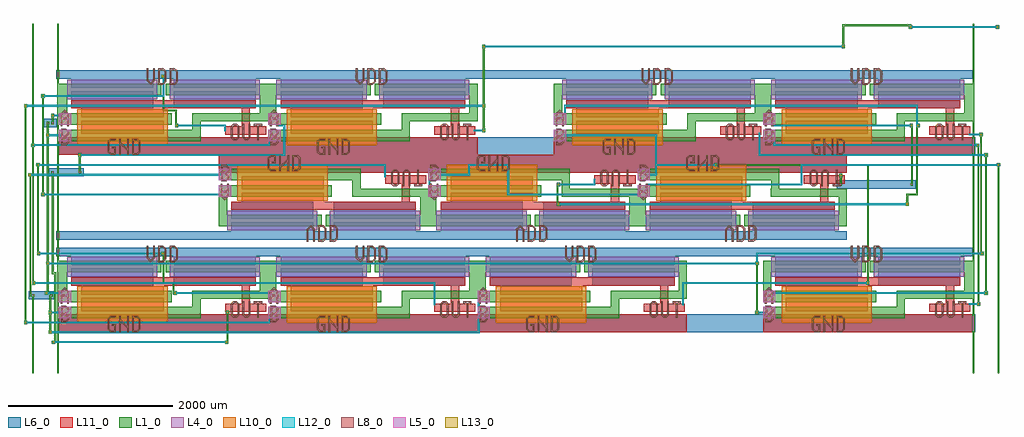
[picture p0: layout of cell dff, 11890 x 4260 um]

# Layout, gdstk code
import gdstk
lib = gdstk.Library(unit=1e-6, precision=1e-09)
def R(c, l, rs):  # rectangles x0, y0, x1, y1
    for r in rs: c.add(gdstk.rectangle(r[:2], r[2:], *l))
def A(c, l, x, y, w, h, nx, ny, dx, dy):  # array of equal rectangles
    R(c, l, [(x+i*dx, y+j*dy, x+i*dx+w, y+j*dy+h) for i in range(nx) for j in range(ny)])
def P(c, l, *ps):  # polygons
    for p in ps: c.add(gdstk.Polygon(p, *l))
L1_0 = (1, 0)
L4_0 = (4, 0)
L5_0 = (5, 0)
L6_0 = (6, 0)
L8_0 = (8, 0)
L10_0 = (10, 0)
L11_0 = (11, 0)
L12_0 = (12, 0)
L13_0 = (13, 0)

text_a = lib.new_cell('text_A')
R(text_a, L8_0, [(0,0,20,150), (80,0,100,150), (0,85,100,110)])
P(text_a, L8_0, [(36.413,186.945),(50.555,201.087),(101.088,150.554),(86.946,136.412)],
  [(13.055,136.412),(-1.087,150.554),(49.446,201.087),(63.588,186.945)])

text_b = lib.new_cell('text_B')
R(text_b, L8_0, [(-0.499,0,64.501,20), (0,0,20,200), (80,40,100,60), (0,90,70,110), (80,140,100,160), (0.001,179.5,65.001,199.5)])
P(text_b, L8_0, [(50.251,185.837),(85.856,150.232),(99.998,164.374),(64.393,199.999)],
  [(100,64.394),(64.395,99.999),(50.253,85.857),(85.858,50.252)],
  [(85.858,148.999),(50.753,113.894),(64.895,99.752),(100,134.857)],
  [(85.858,48.999),(50.753,13.894),(64.895,-0.248),(100,34.857)])

text_n = lib.new_cell('text_N')
R(text_n, L8_0, [(0,0,20,200), (100,0,120,200)])
P(text_n, L8_0, [(3.431,142.426),(17.573,156.568),(116.568,57.573),(102.426,43.431)])

text_d = lib.new_cell('text_D')
R(text_d, L8_0, [(0,0,65,20), (0,0,20,200), (80,35,100,165), (0,180,65,200)])
P(text_d, L8_0, [(85.857,150.501),(50.252,186.106),(64.394,200.248),(99.999,164.643)],
  [(100.499,35.106),(64.894,-0.499),(50.752,13.643),(86.357,49.248)])

text_g = lib.new_cell('text_G')
R(text_g, L8_0, [(80,0,100,90), (34.999,0.5,99.999,20.5), (-0.001,35,19.999,165), (50,80,100,100), (35.499,180,100.499,200)])
P(text_g, L8_0, [(0,35.606),(35.605,0.001),(49.747,14.143),(14.142,49.748)],
  [(14.142,151.001),(49.247,186.106),(35.105,200.248),(0,165.143)])

text_gnd = lib.new_cell('text_GND')
text_gnd.add(gdstk.Reference(text_n, (140,0)))
text_gnd.add(gdstk.Reference(text_d, (300,0)))
text_gnd.add(gdstk.Reference(text_g, (0,0)))

text_v = lib.new_cell('text_V')
R(text_v, L8_0, [(0,51.087,20,201.087), (80,51.087,100,201.087)])
P(text_v, L8_0, [(13.055,64.675),(-1.087,50.533),(49.446,0),(63.588,14.142)],
  [(36.413,14.142),(50.555,0),(101.088,50.533),(86.946,64.675)])

text_vdd = lib.new_cell('text_VDD')
text_vdd.add(gdstk.Reference(text_d, (140,0)))
text_vdd.add(gdstk.Reference(text_d, (280,0)))
text_vdd.add(gdstk.Reference(text_v, (0,0)))

text_t = lib.new_cell('text_T')
R(text_t, L8_0, [(40,0,60,190), (0,170,15,190), (85,170,100,190), (0,180,100,200)])

text_u = lib.new_cell('text_U')
R(text_u, L8_0, [(30,0,65,20), (0,30,20,200), (75,30,95,200)])
P(text_u, L8_0, [(14.894,44.248),(45.499,13.643),(31.357,-0.499),(0.752,30.106)],
  [(95.499,30.106),(64.894,-0.499),(50.752,13.643),(81.357,44.248)])

text_o = lib.new_cell('text_O')
R(text_o, L8_0, [(30.996,0.5,70.497,20.5), (79.997,30.002,99.997,75.002), (-0.003,30.5,19.997,125), (80.499,65,100.499,169.002), (-0.001,121,19.999,168.5), (30.499,180.002,70,200.002)])
P(text_o, L8_0, [(13.393,155.254),(43.998,185.859),(29.856,200.001),(-0.749,169.396)],
  [(-0.002,30.606),(30.603,0.001),(44.745,14.143),(14.14,44.748)],
  [(86.103,44.748),(55.498,14.143),(69.64,0.001),(100.245,30.606)],
  [(100.498,168.896),(69.893,199.501),(55.751,185.359),(86.356,154.754)])

text_out = lib.new_cell('text_OUT')
text_out.add(gdstk.Reference(text_t, (280,0)))
text_out.add(gdstk.Reference(text_u, (140,0)))
text_out.add(gdstk.Reference(text_o, (0,0)))

nand2x1 = lib.new_cell('NAND2X1')
R(nand2x1, L1_0, [(0,169,1725,309), (1626,169,1726,409), (0,369,1375,509), (0,409,100,869), (1625,409,2550,509), (2450,409,2550,869), (0,729,1250,869), (1300,729,2550,869)])
R(nand2x1, L4_0, [(100,679,1200,919), (1350,679,2450,919)])
R(nand2x1, L5_0, [(0,169,150,309), (0,369,150,509)])
R(nand2x1, L6_0, [(150,569,1150,779), (1400,569,2400,779), (150,819,1150,999), (1400,819,2400,999), (150,929,2400,1030)])
R(nand2x1, L10_0, [(225,119,1325,559)])
R(nand2x1, L11_0, [(0,0,2550,219), (2025,249,2525,349), (2225,249,2325,669), (275,259,1275,419), (275,459,1275,669), (150,569,2400,669)])
nand2x1.add(gdstk.Reference(text_a, (21,349)))
nand2x1.add(gdstk.Reference(text_b, (27,121.5)))
nand2x1.add(gdstk.Reference(text_gnd, (593.5,0.5)))
nand2x1.add(gdstk.Reference(text_vdd, (1069,854.5)))
nand2x1.add(gdstk.Reference(text_out, (2096.5,179)))

c___via23_20000_20000_1_3 = lib.new_cell('$$VIA23_20000_20000_1_3')
R(c___via23_20000_20000_1_3, L1_0, [(-15,-35,15,35)])
A(c___via23_20000_20000_1_3, L5_0, -5, -25, 10, 10, 1, 3, 0, 20)
R(c___via23_20000_20000_1_3, L6_0, [(-25,-45,25,45)])

c___via23_20000_20000_1_9 = lib.new_cell('$$VIA23_20000_20000_1_9')
R(c___via23_20000_20000_1_9, L1_0, [(-15,-95,15,95)])
A(c___via23_20000_20000_1_9, L5_0, -5, -85, 10, 10, 1, 9, 0, 20)
R(c___via23_20000_20000_1_9, L6_0, [(-25,-105,25,105)])

c___via12 = lib.new_cell('$$VIA12')
R(c___via12, L1_0, [(-20,-20,20,20)])
R(c___via12, L12_0, [(-15,-15,15,15)])
R(c___via12, L13_0, [(-10,-10,10,10)])

c___via23 = lib.new_cell('$$VIA23')
R(c___via23, L1_0, [(-15,-15,15,15)])
R(c___via23, L5_0, [(-5,-5,5,5)])
R(c___via23, L6_0, [(-25,-25,25,25)])

dff = lib.new_cell('dff')
dff.add(gdstk.FlexPath([(490,3760),(490,4260)], 20, ends="flush", simple_path=True, layer=1, datatype=0))  # L1_0
dff.add(gdstk.FlexPath([(490,0),(490,3760)], 20, ends="flush", simple_path=True, layer=1, datatype=0))  # L1_0
dff.add(gdstk.FlexPath([(11640,0),(11640,4260)], 20, ends="flush", simple_path=True, layer=1, datatype=0))  # L1_0
dff.add(gdstk.FlexPath([(6047.5,3588.995),(6047.5,3690)], 11165, ends="flush", simple_path=True, layer=6, datatype=0))  # L6_0
dff.add(gdstk.FlexPath([(6047.5,1428.995),(6047.5,1530)], 11165, ends="flush", simple_path=True, layer=6, datatype=0))  # L6_0
dff.add(gdstk.FlexPath([(5282.5,1630),(5282.5,1731.005)], 9635, ends="flush", simple_path=True, layer=6, datatype=0))  # L6_0
dff.add(gdstk.FlexPath([(6082.5,500),(6082.5,718.995)], 11165, ends="flush", simple_path=True, layer=6, datatype=0))  # L6_0
dff.add(gdstk.FlexPath([(6082.5,2660),(6082.5,2878.995)], 11165, ends="flush", simple_path=True, layer=6, datatype=0))  # L6_0
dff.add(gdstk.FlexPath([(10895,2300),(10895,3020)], 20, ends="extended", simple_path=True, layer=1, datatype=0))  # L1_0
dff.add(gdstk.FlexPath([(10025,2300),(10025,2411.005)], 20, ends="extended", simple_path=True, layer=1, datatype=0))  # L1_0
dff.add(gdstk.FlexPath([(11795,980),(11795,2660)], 20, ends="extended", simple_path=True, layer=1, datatype=0))  # L1_0
dff.add(gdstk.FlexPath([(9035,2660),(9035,2919)], 20, ends="extended", simple_path=True, layer=12, datatype=0))  # L12_0
dff.add(gdstk.FlexPath([(11705,844),(11705,2780)], 20, ends="extended", simple_path=True, layer=1, datatype=0))  # L1_0
dff.add(gdstk.FlexPath([(9215,2780),(9215,2839)], 20, ends="extended", simple_path=True, layer=12, datatype=0))  # L12_0
dff.add(gdstk.FlexPath([(7025,2300),(7025,2361.005)], 20, ends="extended", simple_path=True, layer=12, datatype=0))  # L12_0
dff.add(gdstk.FlexPath([(6575,2060),(6575,2300)], 20, ends="extended", simple_path=True, layer=1, datatype=0))  # L1_0
dff.add(gdstk.FlexPath([(10835,2060),(10835,2180)], 20, ends="extended", simple_path=True, layer=1, datatype=0))  # L1_0
dff.add(gdstk.FlexPath([(10955,2180),(10955,3020)], 20, ends="extended", simple_path=True, layer=1, datatype=0))  # L1_0
dff.add(gdstk.FlexPath([(10955,3020),(10955,3260)], 20, ends="extended", simple_path=True, layer=12, datatype=0))  # L12_0
dff.add(gdstk.FlexPath([(6665,3158.995),(6665,3260)], 20, ends="extended", simple_path=True, layer=12, datatype=0))  # L12_0
dff.add(gdstk.FlexPath([(8105,838.995),(8105,1100)], 20, ends="extended", simple_path=True, layer=12, datatype=0))  # L12_0
dff.add(gdstk.FlexPath([(10355,1100),(10355,2540)], 20, ends="extended", simple_path=True, layer=1, datatype=0))  # L1_0
dff.add(gdstk.FlexPath([(7775,2420),(7775,2540)], 20, ends="extended", simple_path=True, layer=12, datatype=0))  # L12_0
dff.add(gdstk.FlexPath([(7775,2540),(7775,2900)], 20, ends="extended", simple_path=True, layer=12, datatype=0))  # L12_0
dff.add(gdstk.FlexPath([(2555,380),(2555,740)], 20, ends="extended", simple_path=True, layer=1, datatype=0))  # L1_0
dff.add(gdstk.FlexPath([(455,380),(455,1220)], 20, ends="extended", simple_path=True, layer=1, datatype=0))  # L1_0
dff.add(gdstk.FlexPath([(425,1220),(425,2450)], 20, ends="extended", simple_path=True, layer=1, datatype=0))  # L1_0
dff.add(gdstk.FlexPath([(755,2450),(755,2660)], 20, ends="extended", simple_path=True, layer=1, datatype=0))  # L1_0
dff.add(gdstk.FlexPath([(3245,2660),(3245,3020)], 20, ends="extended", simple_path=True, layer=12, datatype=0))  # L12_0
dff.add(gdstk.FlexPath([(2525,2959),(2525,3020)], 20, ends="extended", simple_path=True, layer=12, datatype=0))  # L12_0
dff.add(gdstk.FlexPath([(1925,3020),(1925,3200)], 20, ends="extended", simple_path=True, layer=1, datatype=0))  # L1_0
dff.add(gdstk.FlexPath([(1775,3200),(1775,3620)], 20, ends="extended", simple_path=True, layer=1, datatype=0))  # L1_0
dff.add(gdstk.FlexPath([(1775,3380),(1775,3620)], 20, ends="extended", simple_path=True, layer=12, datatype=0))  # L12_0
dff.add(gdstk.FlexPath([(305,2180),(305,3380)], 20, ends="extended", simple_path=True, layer=1, datatype=0))  # L1_0
dff.add(gdstk.FlexPath([(425,3050),(425,3140)], 20, ends="extended", simple_path=True, layer=1, datatype=0))  # L1_0
dff.add(gdstk.FlexPath([(365,2900),(365,3050)], 20, ends="extended", simple_path=True, layer=1, datatype=0))  # L1_0
dff.add(gdstk.FlexPath([(365,980),(365,1340)], 20, ends="extended", simple_path=True, layer=1, datatype=0))  # L1_0
dff.add(gdstk.FlexPath([(9005,740),(9005,1340)], 20, ends="extended", simple_path=True, layer=1, datatype=0))  # L1_0
dff.add(gdstk.FlexPath([(11735,1460),(11735,2909)], 20, ends="extended", simple_path=True, layer=1, datatype=0))  # L1_0
dff.add(gdstk.FlexPath([(9005,1340),(9005,1460)], 20, ends="extended", simple_path=True, layer=12, datatype=0))  # L12_0
dff.add(gdstk.FlexPath([(365,1340),(365,2900)], 20, ends="extended", simple_path=True, layer=1, datatype=0))  # L1_0
dff.add(gdstk.FlexPath([(5975,2180),(5975,2540)], 20, ends="extended", simple_path=True, layer=12, datatype=0))  # L12_0
dff.add(gdstk.FlexPath([(5495,2420),(5495,2540)], 20, ends="extended", simple_path=True, layer=12, datatype=0))  # L12_0
dff.add(gdstk.FlexPath([(11945,10),(11945,2540)], 20, ends="extended", simple_path=True, layer=1, datatype=0))  # L1_0
dff.add(gdstk.FlexPath([(9545,2300),(9545,2540)], 20, ends="extended", simple_path=True, layer=12, datatype=0))  # L12_0
dff.add(gdstk.FlexPath([(5015,2300),(5015,2351)], 20, ends="extended", simple_path=True, layer=12, datatype=0))  # L12_0
dff.add(gdstk.FlexPath([(185,2780),(185,4250)], 20, ends="extended", simple_path=True, layer=1, datatype=0))  # L1_0
dff.add(gdstk.FlexPath([(3065,2780),(3065,2839)], 20, ends="extended", simple_path=True, layer=12, datatype=0))  # L12_0
dff.add(gdstk.FlexPath([(185,1100),(185,2780)], 20, ends="extended", simple_path=True, layer=1, datatype=0))  # L1_0
dff.add(gdstk.FlexPath([(5075,838.995),(5075,1100)], 20, ends="extended", simple_path=True, layer=12, datatype=0))  # L12_0
dff.add(gdstk.FlexPath([(3065,620),(3065,679)], 20, ends="extended", simple_path=True, layer=12, datatype=0))  # L12_0
dff.add(gdstk.FlexPath([(95,620),(95,3260)], 20, ends="extended", simple_path=True, layer=1, datatype=0))  # L1_0
dff.add(gdstk.FlexPath([(5675,2959),(5675,3260)], 20, ends="extended", simple_path=True, layer=1, datatype=0))  # L1_0
dff.add(gdstk.FlexPath([(10055,3980),(10055,4240)], 20, ends="extended", simple_path=True, layer=1, datatype=0))  # L1_0
dff.add(gdstk.FlexPath([(5675,3260),(5675,3980)], 20, ends="extended", simple_path=True, layer=1, datatype=0))  # L1_0
dff.add(gdstk.FlexPath([(4475,2401),(4475,2540)], 20, ends="extended", simple_path=True, layer=12, datatype=0))  # L12_0
dff.add(gdstk.FlexPath([(245,1460),(245,2540)], 20, ends="extended", simple_path=True, layer=1, datatype=0))  # L1_0
dff.add(gdstk.FlexPath([(1775,1100),(1775,1460)], 20, ends="extended", simple_path=True, layer=1, datatype=0))  # L1_0
dff.add(gdstk.FlexPath([(1895,980),(1895,1100)], 20, ends="extended", simple_path=True, layer=1, datatype=0))  # L1_0
dff.add(gdstk.FlexPath([(155,952.5),(155,2420)], 20, ends="extended", simple_path=True, layer=1, datatype=0))  # L1_0
dff.add(gdstk.FlexPath([(185,10),(185,950)], 20, ends="extended", simple_path=True, layer=1, datatype=0))  # L1_0
dff.add(gdstk.FlexPath([(395,500),(395,740)], 20, ends="extended", simple_path=True, layer=1, datatype=0))  # L1_0
dff.add(gdstk.FlexPath([(5615,500),(5615,739)], 20, ends="extended", simple_path=True, layer=12, datatype=0))  # L12_0
dff.add(gdstk.FlexPath([(395,740),(395,950)], 20, ends="extended", simple_path=True, layer=1, datatype=0))  # L1_0
dff.add(gdstk.FlexPath([(5615,809),(5615,860)], 20, ends="extended", simple_path=True, layer=12, datatype=0))  # L12_0
dff.add(gdstk.FlexPath([(475,3639.495),(505,3639.495)], 101, ends="flush", simple_path=True, layer=1, datatype=0))  # L1_0
dff.add(gdstk.FlexPath([(475,3639.5),(505,3639.5)], 101, ends="flush", simple_path=True, layer=1, datatype=0))  # L1_0
dff.add(gdstk.FlexPath([(475,1479.495),(505,1479.495)], 101, ends="flush", simple_path=True, layer=1, datatype=0))  # L1_0
dff.add(gdstk.FlexPath([(475,1479.5),(505,1479.5)], 101, ends="flush", simple_path=True, layer=1, datatype=0))  # L1_0
dff.add(gdstk.FlexPath([(475,1680.5),(505,1680.5)], 101, ends="flush", simple_path=True, layer=1, datatype=0))  # L1_0
dff.add(gdstk.FlexPath([(475,1680.505),(505,1680.505)], 101, ends="flush", simple_path=True, layer=1, datatype=0))  # L1_0
dff.add(gdstk.FlexPath([(2450,2550.5),(10100,2550.5)], 218.99, ends="flush", simple_path=True, layer=6, datatype=0))  # L6_0
dff.add(gdstk.FlexPath([(2450,2550.505),(10100,2550.505)], 218.99, ends="flush", simple_path=True, layer=6, datatype=0))  # L6_0
dff.add(gdstk.FlexPath([(11625,609.495),(11655,609.495)], 218.99, ends="flush", simple_path=True, layer=1, datatype=0))  # L1_0
dff.add(gdstk.FlexPath([(11625,609.5),(11655,609.5)], 218.99, ends="flush", simple_path=True, layer=1, datatype=0))  # L1_0
dff.add(gdstk.FlexPath([(11625,2769.495),(11655,2769.495)], 218.99, ends="flush", simple_path=True, layer=1, datatype=0))  # L1_0
dff.add(gdstk.FlexPath([(11625,2769.5),(11655,2769.5)], 218.99, ends="flush", simple_path=True, layer=1, datatype=0))  # L1_0
dff.add(gdstk.FlexPath([(9215,3020),(10885,3020)], 20, ends="extended", simple_path=True, layer=12, datatype=0))  # L12_0
dff.add(gdstk.FlexPath([(10025,2300),(10890,2300)], 100, ends="extended", simple_path=True, layer=6, datatype=0))  # L6_0
dff.add(gdstk.FlexPath([(9220,980),(11795,980)], 20, ends="extended", simple_path=True, layer=12, datatype=0))  # L12_0
dff.add(gdstk.FlexPath([(9035,2660),(11795,2660)], 20, ends="extended", simple_path=True, layer=12, datatype=0))  # L12_0
dff.add(gdstk.FlexPath([(11595,844),(11705,844)], 20, ends="extended", simple_path=True, layer=12, datatype=0))  # L12_0
dff.add(gdstk.FlexPath([(9215,2780),(11695,2780)], 20, ends="extended", simple_path=True, layer=12, datatype=0))  # L12_0
dff.add(gdstk.FlexPath([(6585,2300),(7025,2300)], 20, ends="extended", simple_path=True, layer=12, datatype=0))  # L12_0
dff.add(gdstk.FlexPath([(6585,2060),(10835,2060)], 20, ends="extended", simple_path=True, layer=12, datatype=0))  # L12_0
dff.add(gdstk.FlexPath([(10835,2180),(10955,2180)], 20, ends="extended", simple_path=True, layer=1, datatype=0))  # L1_0
dff.add(gdstk.FlexPath([(6665,3260),(10955,3260)], 20, ends="extended", simple_path=True, layer=12, datatype=0))  # L12_0
dff.add(gdstk.FlexPath([(8105,1100),(10355,1100)], 20, ends="extended", simple_path=True, layer=12, datatype=0))  # L12_0
dff.add(gdstk.FlexPath([(8505,2540),(10355,2540)], 20, ends="extended", simple_path=True, layer=1, datatype=0))  # L1_0
dff.add(gdstk.FlexPath([(7775,2540),(8505,2540)], 20, ends="extended", simple_path=True, layer=12, datatype=0))  # L12_0
dff.add(gdstk.FlexPath([(7685,2420),(7775,2420)], 20, ends="extended", simple_path=True, layer=12, datatype=0))  # L12_0
dff.add(gdstk.FlexPath([(6665,2900),(7775,2900)], 20, ends="extended", simple_path=True, layer=12, datatype=0))  # L12_0
dff.add(gdstk.FlexPath([(435,380),(2545,380)], 20, ends="extended", simple_path=True, layer=12, datatype=0))  # L12_0
dff.add(gdstk.FlexPath([(425,1220),(455,1220)], 20, ends="extended", simple_path=True, layer=1, datatype=0))  # L1_0
dff.add(gdstk.FlexPath([(425,2450),(755,2450)], 100, ends="extended", simple_path=True, layer=6, datatype=0))  # L6_0
dff.add(gdstk.FlexPath([(755,2660),(3245,2660)], 20, ends="extended", simple_path=True, layer=12, datatype=0))  # L12_0
dff.add(gdstk.FlexPath([(3190,3020),(3245,3020)], 20, ends="extended", simple_path=True, layer=12, datatype=0))  # L12_0
dff.add(gdstk.FlexPath([(1935,3020),(2525,3020)], 20, ends="extended", simple_path=True, layer=12, datatype=0))  # L12_0
dff.add(gdstk.FlexPath([(1775,3200),(1925,3200)], 20, ends="extended", simple_path=True, layer=1, datatype=0))  # L1_0
dff.add(gdstk.FlexPath([(305,3380),(1775,3380)], 20, ends="extended", simple_path=True, layer=12, datatype=0))  # L12_0
dff.add(gdstk.FlexPath([(305,2180),(2460,2180)], 20, ends="extended", simple_path=True, layer=12, datatype=0))  # L12_0
dff.add(gdstk.FlexPath([(425,3140),(510,3140)], 20, ends="extended", simple_path=True, layer=12, datatype=0))  # L12_0
dff.add(gdstk.FlexPath([(365,3050),(425,3050)], 100, ends="extended", simple_path=True, layer=6, datatype=0))  # L6_0
dff.add(gdstk.FlexPath([(365,2900),(510,2900)], 20, ends="extended", simple_path=True, layer=12, datatype=0))  # L12_0
dff.add(gdstk.FlexPath([(350,980),(510,980)], 20, ends="extended", simple_path=True, layer=12, datatype=0))  # L12_0
dff.add(gdstk.FlexPath([(9005,740),(9090,740)], 20, ends="extended", simple_path=True, layer=12, datatype=0))  # L12_0
dff.add(gdstk.FlexPath([(11595,2909),(11735,2909)], 20, ends="extended", simple_path=True, layer=12, datatype=0))  # L12_0
dff.add(gdstk.FlexPath([(9005,1460),(11745,1460)], 20, ends="extended", simple_path=True, layer=12, datatype=0))  # L12_0
dff.add(gdstk.FlexPath([(365,1340),(9005,1340)], 20, ends="extended", simple_path=True, layer=12, datatype=0))  # L12_0
dff.add(gdstk.FlexPath([(5975,2180),(7565,2180)], 20, ends="extended", simple_path=True, layer=12, datatype=0))  # L12_0
dff.add(gdstk.FlexPath([(5495,2540),(5975,2540)], 20, ends="extended", simple_path=True, layer=12, datatype=0))  # L12_0
dff.add(gdstk.FlexPath([(5135,2420),(5495,2420)], 20, ends="extended", simple_path=True, layer=12, datatype=0))  # L12_0
dff.add(gdstk.FlexPath([(9545,2540),(11945,2540)], 20, ends="extended", simple_path=True, layer=12, datatype=0))  # L12_0
dff.add(gdstk.FlexPath([(7690,2300),(9545,2300)], 20, ends="extended", simple_path=True, layer=12, datatype=0))  # L12_0
dff.add(gdstk.FlexPath([(185,2780),(3065,2780)], 20, ends="extended", simple_path=True, layer=12, datatype=0))  # L12_0
dff.add(gdstk.FlexPath([(195,1100),(5075,1100)], 20, ends="extended", simple_path=True, layer=12, datatype=0))  # L12_0
dff.add(gdstk.FlexPath([(95,620),(3065,620)], 20, ends="extended", simple_path=True, layer=12, datatype=0))  # L12_0
dff.add(gdstk.FlexPath([(95,3260),(5675,3260)], 20, ends="extended", simple_path=True, layer=12, datatype=0))  # L12_0
dff.add(gdstk.FlexPath([(5565,2959),(5675,2959)], 20, ends="extended", simple_path=True, layer=12, datatype=0))  # L12_0
dff.add(gdstk.FlexPath([(10875,4220),(11935,4220)], 20, ends="extended", simple_path=True, layer=12, datatype=0))  # L12_0
dff.add(gdstk.FlexPath([(10055,4240),(10875,4240)], 20, ends="extended", simple_path=True, layer=1, datatype=0))  # L1_0
dff.add(gdstk.FlexPath([(5675,3980),(10055,3980)], 20, ends="extended", simple_path=True, layer=12, datatype=0))  # L12_0
dff.add(gdstk.FlexPath([(245,2540),(4475,2540)], 20, ends="extended", simple_path=True, layer=12, datatype=0))  # L12_0
dff.add(gdstk.FlexPath([(255,1460),(1765,1460)], 20, ends="extended", simple_path=True, layer=12, datatype=0))  # L12_0
dff.add(gdstk.FlexPath([(1775,1100),(1895,1100)], 20, ends="extended", simple_path=True, layer=1, datatype=0))  # L1_0
dff.add(gdstk.FlexPath([(1915,980),(3060,980)], 20, ends="extended", simple_path=True, layer=12, datatype=0))  # L12_0
dff.add(gdstk.FlexPath([(157.5,952.5),(185,952.5)], 25, ends="extended", simple_path=True, layer=1, datatype=0))  # L1_0
dff.add(gdstk.FlexPath([(145,2420),(2460,2420)], 20, ends="extended", simple_path=True, layer=12, datatype=0))  # L12_0
dff.add(gdstk.FlexPath([(395,740),(510,740)], 20, ends="extended", simple_path=True, layer=12, datatype=0))  # L12_0
dff.add(gdstk.FlexPath([(395,500),(5615,500)], 20, ends="extended", simple_path=True, layer=12, datatype=0))  # L12_0
dff.add(gdstk.FlexPath([(185,950),(395,950)], 100, ends="extended", simple_path=True, layer=6, datatype=0))  # L6_0
dff.add(gdstk.Reference(nand2x1, (3050,500)))
dff.add(gdstk.Reference(nand2x1, (3050,2660)))
dff.add(gdstk.Reference(nand2x1, (2450,2660), x_reflection=True))
dff.add(gdstk.Reference(nand2x1, (500,2660)))
dff.add(gdstk.Reference(nand2x1, (500,500)))
dff.add(gdstk.Reference(nand2x1, (9080,500)))
dff.add(gdstk.Reference(nand2x1, (9080,2660)))
dff.add(gdstk.Reference(nand2x1, (6530,2660)))
dff.add(gdstk.Reference(nand2x1, (5000,2660), x_reflection=True))
dff.add(gdstk.Reference(nand2x1, (7550,2660), x_reflection=True))
dff.add(gdstk.Reference(nand2x1, (5600,500)))
dff.add(gdstk.Reference(c___via23_20000_20000_1_3, (490,3639.495)))
dff.add(gdstk.Reference(c___via23_20000_20000_1_3, (490,1479.495)))
dff.add(gdstk.Reference(c___via23_20000_20000_1_3, (490,1680.5)))
dff.add(gdstk.Reference(c___via23_20000_20000_1_9, (11640,609.495)))
dff.add(gdstk.Reference(c___via23_20000_20000_1_9, (11640,2769.495)))
dff.add(gdstk.Reference(c___via12, (10885,3020)))
dff.add(gdstk.Reference(c___via23, (10890,2300)))
dff.add(gdstk.Reference(c___via23, (10025,2300)))
dff.add(gdstk.Reference(c___via12, (10025,2411.005)))
dff.add(gdstk.Reference(c___via12, (11795,980)))
dff.add(gdstk.Reference(c___via12, (11795,2660)))
dff.add(gdstk.Reference(c___via12, (11705,844)))
dff.add(gdstk.Reference(c___via12, (11695,2780)))
dff.add(gdstk.Reference(c___via12, (6585,2300)))
dff.add(gdstk.Reference(c___via12, (6585,2060)))
dff.add(gdstk.Reference(c___via12, (10835,2060)))
dff.add(gdstk.Reference(c___via12, (10965,3020)))
dff.add(gdstk.Reference(c___via12, (10355,1100)))
dff.add(gdstk.Reference(c___via12, (8505,2540)))
dff.add(gdstk.Reference(c___via12, (2555,740)))
dff.add(gdstk.Reference(c___via12, (2545,380)))
dff.add(gdstk.Reference(c___via12, (435,380)))
dff.add(gdstk.Reference(c___via23, (425,2450)))
dff.add(gdstk.Reference(c___via23, (755,2450)))
dff.add(gdstk.Reference(c___via12, (755,2660)))
dff.add(gdstk.Reference(c___via12, (1935,3020)))
dff.add(gdstk.Reference(c___via12, (1765,3620)))
dff.add(gdstk.Reference(c___via12, (305,3380)))
dff.add(gdstk.Reference(c___via12, (305,2180)))
dff.add(gdstk.Reference(c___via12, (425,3140)))
dff.add(gdstk.Reference(c___via23, (425,3050)))
dff.add(gdstk.Reference(c___via23, (365,3050)))
dff.add(gdstk.Reference(c___via12, (365,2900)))
dff.add(gdstk.Reference(c___via12, (350,980)))
dff.add(gdstk.Reference(c___via12, (9005,740)))
dff.add(gdstk.Reference(c___via12, (9005,1340)))
dff.add(gdstk.Reference(c___via12, (11735,2909)))
dff.add(gdstk.Reference(c___via12, (11745,1460)))
dff.add(gdstk.Reference(c___via12, (365,1340)))
dff.add(gdstk.Reference(c___via12, (11945,2540)))
dff.add(gdstk.Reference(c___via12, (185,2780)))
dff.add(gdstk.Reference(c___via12, (195,1100)))
dff.add(gdstk.Reference(c___via12, (95,620)))
dff.add(gdstk.Reference(c___via12, (95,3260)))
dff.add(gdstk.Reference(c___via12, (5675,3260)))
dff.add(gdstk.Reference(c___via12, (5675,2959)))
dff.add(gdstk.Reference(c___via12, (11935,4220)))
dff.add(gdstk.Reference(c___via12, (10875,4220)))
dff.add(gdstk.Reference(c___via12, (10055,3980)))
dff.add(gdstk.Reference(c___via12, (5675,3980)))
dff.add(gdstk.Reference(c___via12, (245,2540)))
dff.add(gdstk.Reference(c___via12, (255,1460)))
dff.add(gdstk.Reference(c___via12, (1765,1460)))
dff.add(gdstk.Reference(c___via12, (1915,980)))
dff.add(gdstk.Reference(c___via12, (145,2420)))
dff.add(gdstk.Reference(c___via12, (395,740)))
dff.add(gdstk.Reference(c___via12, (395,500)))
dff.add(gdstk.Reference(c___via23, (185,950)))
dff.add(gdstk.Reference(c___via23, (410,950)))

lib.write_gds('dff.gds')
